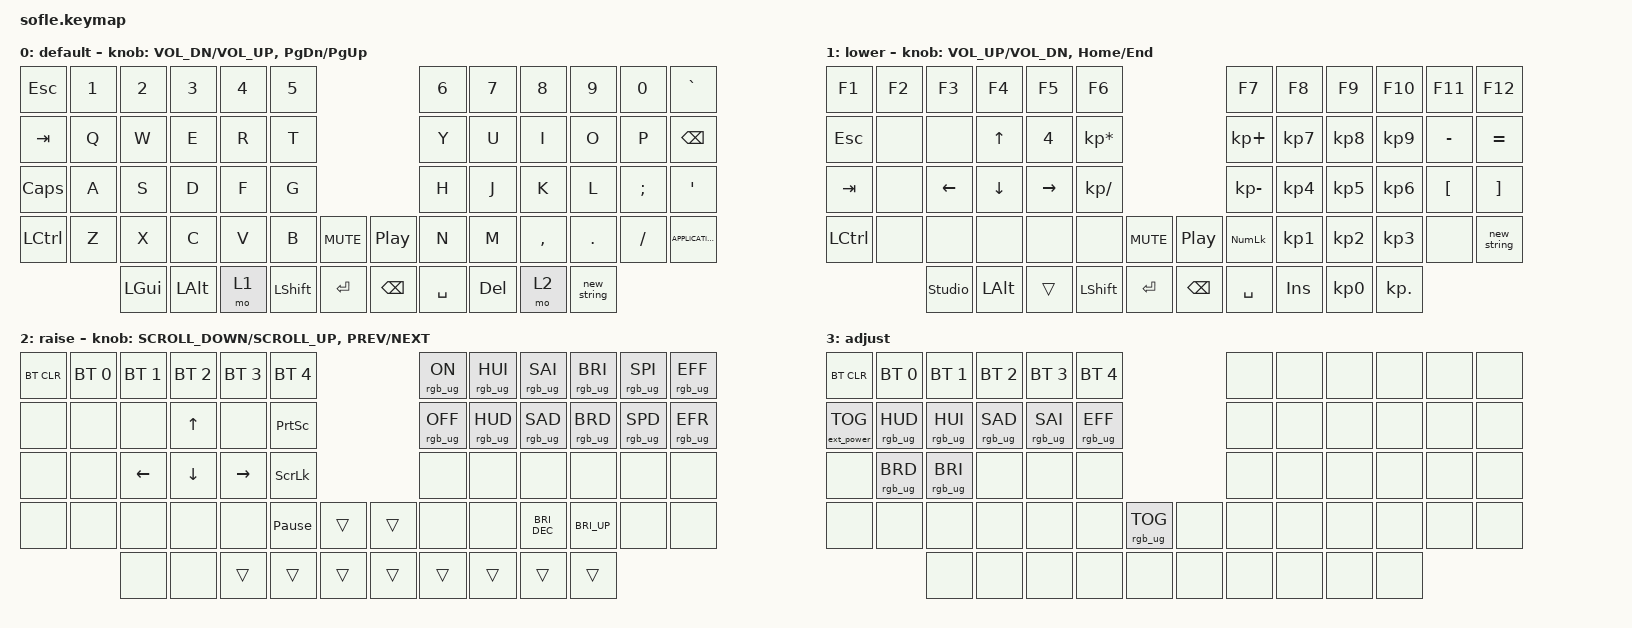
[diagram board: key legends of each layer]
/*
 * Copyright (c) 2020 The ZMK Contributors
 *
 * SPDX-License-Identifier: MIT
 */

#include <behaviors.dtsi>
#include <dt-bindings/zmk/bt.h>
#include <dt-bindings/zmk/ext_power.h>
#include <dt-bindings/zmk/keys.h>
#include <dt-bindings/zmk/rgb.h>

#define BASE 0
#define LOWER 1
#define RAISE 2
#define ADJUST 3

/ {
    // Activate ADJUST layer by pressing raise and lower

    conditional_layers {
        compatible = "zmk,conditional-layers";

        adjust_layer {
            if-layers = <LOWER RAISE>;
            then-layer = <ADJUST>;
        };
    };

    macros {
        new_string: new_string {
            compatible = "zmk,behavior-macro";
            #binding-cells = <0>;
            bindings = <&none &kp LS(V) &kp A &kp N &kp G &kp LS(H) &kp U &kp Y &kp N &kp H &kp NUMBER_1 &kp N9 &kp N9 &kp N5 &kp LT &kp LT &kp GT &kp GREATER_THAN>;
            label = "NEW_STRING";
        };
    };

    keymap {
        compatible = "zmk,keymap";

        default_layer {
            display-name = "default";

            // ------------------------------------------------------------------------------------------------------------
            // |   `   |  1  |  2  |  3   |  4   |  5   |                   |  6   |  7    |  8    |  9   |   0   |       |
            // |  ESC  |  Q  |  W  |  E   |  R   |  T   |                   |  Y   |  U    |  I    |  O   |   P   | BKSPC |
            // |  TAB  |  A  |  S  |  D   |  F   |  G   |                   |  H   |  J    |  K    |  L   |   ;   |   '   |
            // | SHIFT |  Z  |  X  |  C   |  V   |  B   |  MUTE  |  |       |  N   |  M    |  ,    |  .   |   /   | SHIFT |
            //               | GUI | ALT  | CTRL | LOWER|  ENTER |  | SPACE | RAISE| CTRL  | ALT   | GUI  |

            bindings = <
&kp ESCAPE  &kp N1  &kp N2    &kp N3    &kp N4  &kp N5                                          &kp N6     &kp N7   &kp N8     &kp N9       &kp N0    &kp GRAVE
&kp TAB     &kp Q   &kp W     &kp E     &kp R   &kp T                                           &kp Y      &kp U    &kp I      &kp O        &kp P     &kp BSPC
&kp CLCK    &kp A   &kp S     &kp D     &kp F   &kp G                                           &kp H      &kp J    &kp K      &kp L        &kp SEMI  &kp SQT
&kp LCTRL   &kp Z   &kp X     &kp C     &kp V   &kp B           &kp C_MUTE    &kp C_PLAY_PAUSE  &kp N      &kp M    &kp COMMA  &kp DOT      &kp FSLH  &kp K_APPLICATION
                    &kp LGUI  &kp LALT  &mo 1   &kp LEFT_SHIFT  &kp RET       &kp BACKSPACE     &kp SPACE  &kp DEL  &mo 2      &new_string
            >;

            sensor-bindings =
                <&inc_dec_kp C_VOL_DN C_VOL_UP>,
                <&inc_dec_kp PG_DN PG_UP>;
        };

        lower_layer {
            display-name = "lower";

            // TODO: Some binds are waiting for shifted keycode support.
            // ------------------------------------------------------------------------------------------------------------
            // |       |  F1 |  F2 |  F3  |  F4  |  F5  |                   |  F6  |  F7   |  F8   |  F9  |  F10  |  F11  |
            // |   `   |  1  |  2  |  3   |  4   |  5   |                   |  6   |  7    |  8    |  9   |   0   |  F12  |
            // |       |  !  |  @  |  #   |  $   |  %   |                   |  ^   |  &    |  *    |  (   |   )   |   |   |
            // |       |  =  |  -  |  +   |  {   |  }   |        |  |       |  [   |  ]    |  ;    |  :   |   \   |       |
            //               |     |      |      |      |        |  |       |      |       |       |      |

            bindings = <
&kp F1      &kp F2  &kp F3        &kp F4          &kp F5     &kp F6                                           &kp F7        &kp F8           &kp F9           &kp F10          &kp F11           &kp F12
&kp ESCAPE  &none   &none         &kp UP_ARROW    &kp N4     &kp KP_MULTIPLY                                  &kp KP_PLUS   &kp KP_NUMBER_7  &kp KP_NUMBER_8  &kp KP_NUMBER_9  &kp MINUS         &kp EQUAL
&kp TAB     &none   &kp LEFT      &kp DOWN_ARROW  &kp RIGHT  &kp KP_SLASH                                     &kp KP_MINUS  &kp KP_NUMBER_4  &kp KP_NUMBER_5  &kp KP_NUMBER_6  &kp LEFT_BRACKET  &kp RIGHT_BRACKET
&kp LCTRL   &none   &none         &none           &none      &none            &kp C_MUTE    &kp C_PLAY_PAUSE  &kp KP_NUM    &kp KP_NUMBER_1  &kp KP_NUMBER_2  &kp KP_NUMBER_3  &none             &new_string
                    &studio_unlock  &kp LEFT_ALT    &trans     &kp LEFT_SHIFT   &kp ENTER     &kp BACKSPACE     &kp SPACE     &kp INS          &kp KP_NUMBER_0  &kp KP_DOT
            >;

            sensor-bindings =
                <&inc_dec_kp C_VOL_UP C_VOL_DN>,
                <&inc_dec_kp HOME END>;
        };

        raise_layer {
            display-name = "raise";

            // ------------------------------------------------------------------------------------------------------------
            // | BTCLR | BT1  | BT2  |  BT3  |  BT4  |  BT5 |                |      |      |       |      |       |       |
            // |       | INS  | PSCR | GUI   |       |      |                | PGUP |      |   ^   |      |       |       |
            // |       | ALT  | CTRL | SHIFT |       | CAPS |                | PGDN |   <- |   v   |  ->  |  DEL  | BKSPC |
            // |       | UNDO | CUT  | COPY  | PASTE |      |      |  |      |      |      |       |      |       |       |
            //                |      |       |       |      |      |  |      |      |      |       |      |

            bindings = <
&bt BT_CLR  &bt BT_SEL 0  &bt BT_SEL 1  &bt BT_SEL 2  &bt BT_SEL 3  &bt BT_SEL 4                       &rgb_ug RGB_ON   &rgb_ug RGB_HUI  &rgb_ug RGB_SAI  &rgb_ug RGB_BRI  &rgb_ug RGB_SPI  &rgb_ug RGB_EFF
&none       &none         &none         &kp UP_ARROW  &none         &kp PRINTSCREEN                    &rgb_ug RGB_OFF  &rgb_ug RGB_HUD  &rgb_ug RGB_SAD  &rgb_ug RGB_BRD  &rgb_ug RGB_SPD  &rgb_ug RGB_EFR
&none       &none         &kp LEFT      &kp DOWN      &kp RIGHT     &kp SCROLLLOCK                     &none            &none            &none            &none            &none            &none
&none       &none         &none         &none         &none         &kp PAUSE_BREAK  &trans    &trans  &none            &none            &kp C_BRI_DEC    &kp C_BRI_UP     &none            &none
                          &none         &none         &trans        &trans           &trans    &trans  &trans           &trans           &trans           &trans
            >;

            sensor-bindings =
                <&inc_dec_kp K_SCROLL_DOWN K_SCROLL_UP>,
                <&inc_dec_kp C_PREV C_NEXT>;
        };

        adjust_layer {
            // ----------------------------------------------------------------------------------------------------------------------------
            // | BTCLR  |  BT1    |  BT2    |   BT3   |   BT4   |   BT5   |                  |      |      |       |      |       |       |
            // | EXTPWR | RGB_HUD | RGB_HUI | RGB_SAD | RGB_SAI | RGB_EFF |                  |      |      |       |      |       |       |
            // |        | RGB_BRD | RGB_BRI |         |         |         |                  |      |      |       |      |       |       |
            // |        |         |         |         |         |         | RGB_TOG | |      |      |      |       |      |       |       |
            //                    |         |         |         |         |         | |      |      |      |       |      |

            display-name = "adjust";
            bindings = <
&bt BT_CLR         &bt BT_SEL 0     &bt BT_SEL 1     &bt BT_SEL 2     &bt BT_SEL 3     &bt BT_SEL 4                               &none  &none  &none  &none  &none  &none
&ext_power EP_TOG  &rgb_ug RGB_HUD  &rgb_ug RGB_HUI  &rgb_ug RGB_SAD  &rgb_ug RGB_SAI  &rgb_ug RGB_EFF                            &none  &none  &none  &none  &none  &none
&none              &rgb_ug RGB_BRD  &rgb_ug RGB_BRI  &none            &none            &none                                      &none  &none  &none  &none  &none  &none
&none              &none            &none            &none            &none            &none            &rgb_ug RGB_TOG    &none  &none  &none  &none  &none  &none  &none
                                    &none            &none            &none            &none            &none              &none  &none  &none  &none  &none
            >;
        };
    };
};
